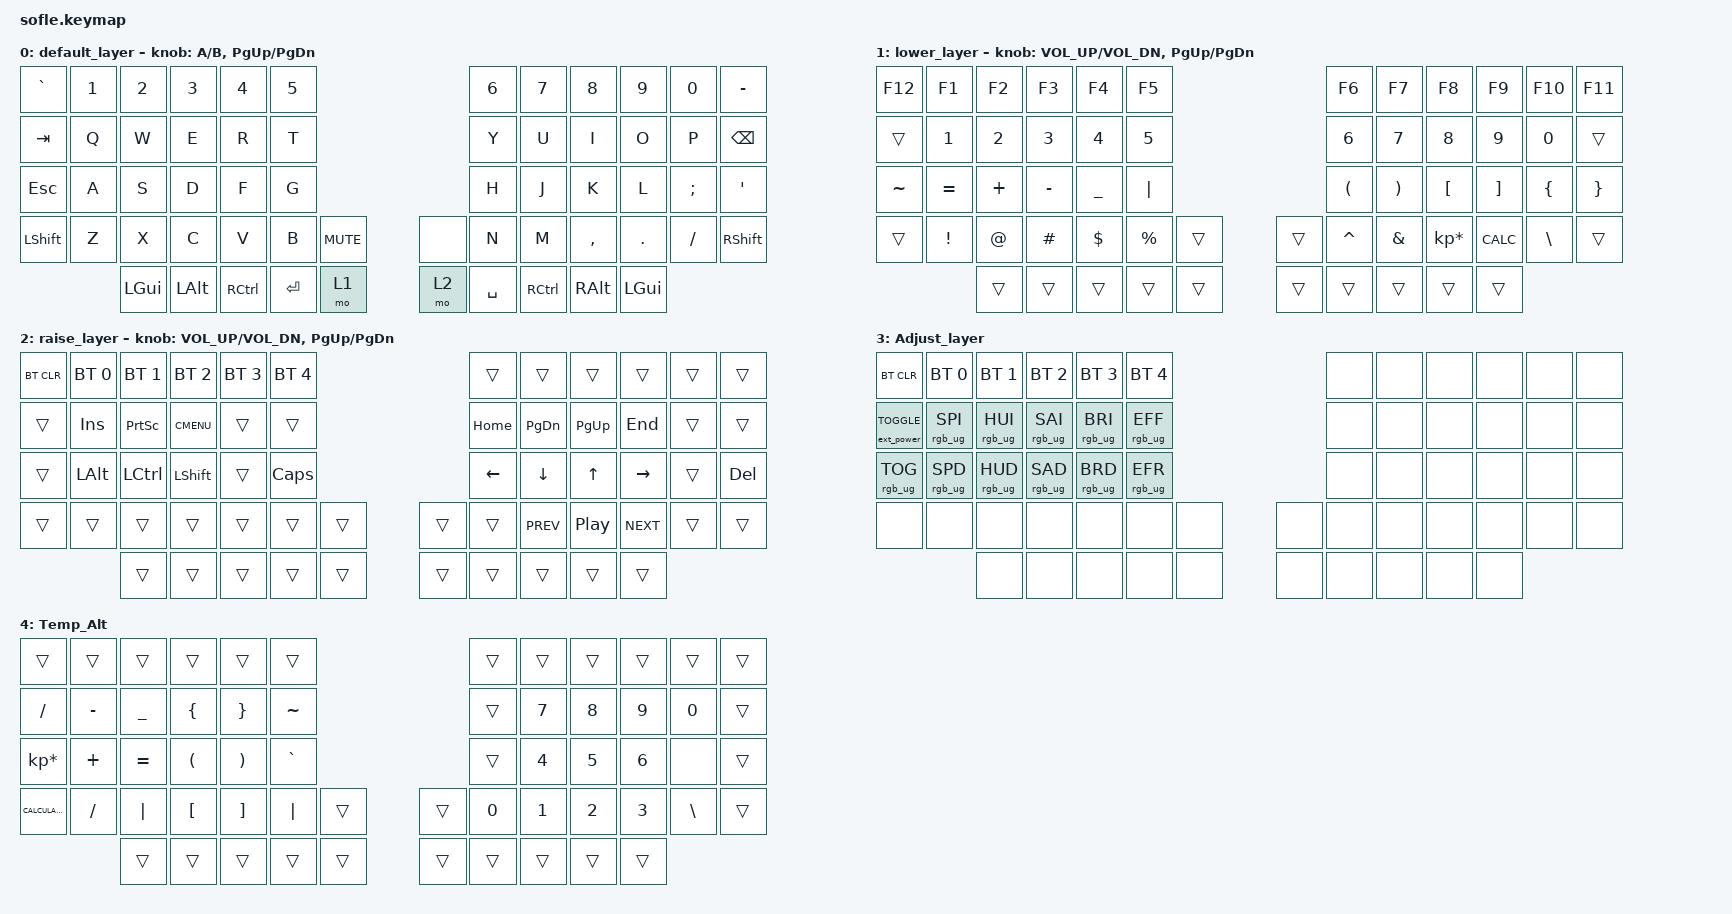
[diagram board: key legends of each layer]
/*
 * Copyright (c) 2020 The ZMK Contributors
 *
 * SPDX-License-Identifier: MIT
 */

#include <behaviors.dtsi>
#include <dt-bindings/zmk/bt.h>
#include <dt-bindings/zmk/ext_power.h>
#include <dt-bindings/zmk/keys.h>
#include <dt-bindings/zmk/rgb.h>

#define BASE 0
#define LOWER 1
#define RAISE 2
#define ADJUST 3

/ {
    // Activate ADJUST layer by pressing raise and lower

    conditional_layers {
        compatible = "zmk,conditional-layers";

        adjust_layer {
            if-layers = <LOWER RAISE>;
            then-layer = <ADJUST>;
        };
    };

    keymap {
        compatible = "zmk,keymap";

        default_layer {
            bindings = <
&kp GRAVE  &kp N1    &kp N2    &kp N3     &kp N4   &kp N5                        &kp N6     &kp N7     &kp N8    &kp N9    &kp N0  &kp MINUS
  &kp TAB   &kp Q     &kp W     &kp E      &kp R    &kp T                         &kp Y      &kp U      &kp I     &kp O     &kp P   &kp BSPC
  &kp ESC   &kp A     &kp S     &kp D      &kp F    &kp G                         &kp H      &kp J      &kp K     &kp L  &kp SEMI    &kp SQT
&kp LSHFT   &kp Z     &kp X     &kp C      &kp V    &kp B  &kp C_MUTE  &none      &kp N      &kp M  &kp COMMA   &kp DOT  &kp FSLH  &kp RSHFT
                   &kp LGUI  &kp LALT  &kp RCTRL  &kp RET       &mo 1  &mo 2  &kp SPACE  &kp RCTRL   &kp RALT  &kp LGUI
            >;

            sensor-bindings = <&inc_dec_kp A B &inc_dec_kp PG_UP PG_DN>;
        };

        lower_layer {
            bindings = <
  &kp F12           &kp F1        &kp F2        &kp F3          &kp F4        &kp F5                                &kp F6                 &kp F7            &kp F8             &kp F9         &kp F10          &kp F11
   &trans     &kp NUMBER_1  &kp NUMBER_2  &kp NUMBER_3    &kp NUMBER_4  &kp NUMBER_5                          &kp NUMBER_6           &kp NUMBER_7      &kp NUMBER_8       &kp NUMBER_9    &kp NUMBER_0           &trans
&kp TILDE        &kp EQUAL      &kp PLUS     &kp MINUS  &kp UNDERSCORE      &kp PIPE                  &kp LEFT_PARENTHESIS  &kp RIGHT_PARENTHESIS  &kp LEFT_BRACKET  &kp RIGHT_BRACKET  &kp LEFT_BRACE  &kp RIGHT_BRACE
   &trans  &kp EXCLAMATION        &kp AT      &kp HASH      &kp DOLLAR   &kp PERCENT  &trans  &trans             &kp CARET          &kp AMPERSAND   &kp KP_MULTIPLY         &kp K_CALC   &kp BACKSLASH           &trans
                                  &trans        &trans          &trans        &trans  &trans  &trans                &trans                 &trans            &trans             &trans
            >;

            sensor-bindings = <&inc_dec_kp C_VOL_UP C_VOL_DN &inc_dec_kp PG_UP PG_DN>;
        };

        raise_layer {
            bindings = <
&bt BT_CLR  &bt BT_SEL 0  &bt BT_SEL 1  &bt BT_SEL 2  &bt BT_SEL 3  &bt BT_SEL 4                    &trans      &trans     &trans      &trans  &trans   &trans
    &trans       &kp INS     &kp PSCRN   &kp K_CMENU        &trans        &trans                  &kp HOME   &kp PG_DN  &kp PG_UP     &kp END  &trans   &trans
    &trans      &kp LALT     &kp LCTRL     &kp LSHFT        &trans      &kp CLCK                  &kp LEFT    &kp DOWN     &kp UP   &kp RIGHT  &trans  &kp DEL
    &trans        &trans        &trans        &trans        &trans        &trans  &trans  &trans    &trans  &kp C_PREV   &kp C_PP  &kp C_NEXT  &trans   &trans
                                &trans        &trans        &trans        &trans  &trans  &trans    &trans      &trans     &trans      &trans
            >;

            sensor-bindings = <&inc_dec_kp C_VOL_UP C_VOL_DN &inc_dec_kp PG_UP PG_DN>;
        };

        Adjust_layer {
            bindings = <
                     &bt BT_CLR     &bt BT_SEL 0     &bt BT_SEL 1     &bt BT_SEL 2     &bt BT_SEL 3     &bt BT_SEL 4                &none  &none  &none  &none  &none  &none
&ext_power EXT_POWER_TOGGLE_CMD  &rgb_ug RGB_SPI  &rgb_ug RGB_HUI  &rgb_ug RGB_SAI  &rgb_ug RGB_BRI  &rgb_ug RGB_EFF                &none  &none  &none  &none  &none  &none
                &rgb_ug RGB_TOG  &rgb_ug RGB_SPD  &rgb_ug RGB_HUD  &rgb_ug RGB_SAD  &rgb_ug RGB_BRD  &rgb_ug RGB_EFR                &none  &none  &none  &none  &none  &none
                          &none            &none            &none            &none            &none            &none  &none  &none  &none  &none  &none  &none  &none  &none
                                                            &none            &none            &none            &none  &none  &none  &none  &none  &none  &none
            >;
        };

        Temp_Alt {
            bindings = <
          &trans     &trans          &trans                &trans                 &trans     &trans                        &trans        &trans        &trans        &trans         &trans  &trans
       &kp SLASH  &kp MINUS  &kp UNDERSCORE        &kp LEFT_BRACE        &kp RIGHT_BRACE  &kp TILDE                        &trans  &kp NUMBER_7  &kp NUMBER_8  &kp NUMBER_9   &kp NUMBER_0  &trans
 &kp KP_MULTIPLY   &kp PLUS       &kp EQUAL  &kp LEFT_PARENTHESIS  &kp RIGHT_PARENTHESIS  &kp GRAVE                        &trans  &kp NUMBER_4  &kp NUMBER_5  &kp NUMBER_6          &none  &trans
&kp K_CALCULATOR  &kp SLASH        &kp PIPE      &kp LEFT_BRACKET      &kp RIGHT_BRACKET   &kp PIPE  &trans  &trans  &kp NUMBER_0  &kp NUMBER_1  &kp NUMBER_2  &kp NUMBER_3  &kp BACKSLASH  &trans
                                     &trans                &trans                 &trans     &trans  &trans  &trans        &trans        &trans        &trans        &trans
            >;
        };
    };
};
